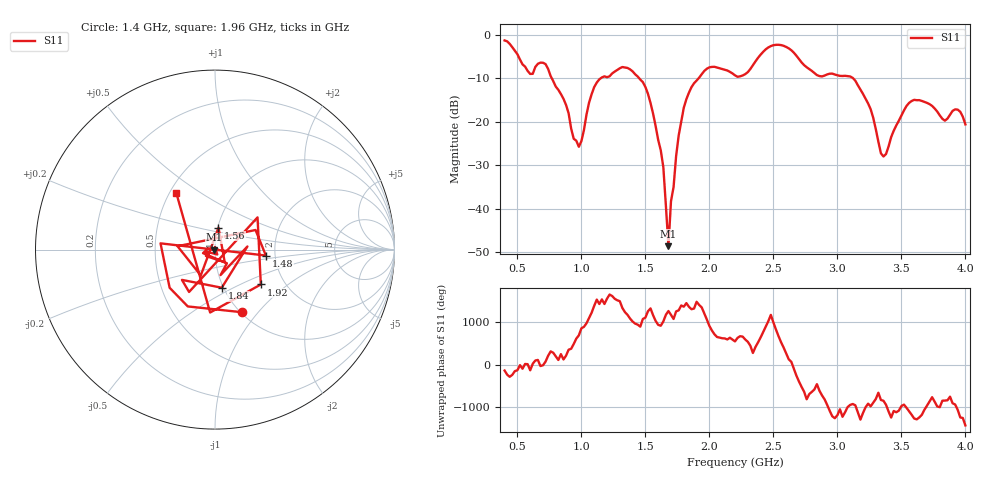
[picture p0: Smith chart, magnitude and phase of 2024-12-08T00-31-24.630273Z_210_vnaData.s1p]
!Created with skrf (http://scikit-rf.org).
# Hz S RI R 50.0
!freq ReS11 ImS11
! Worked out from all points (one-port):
!   181 points, 400 MHz to 4 GHz, reference 50 ohm
!   lowest |S11| = -48.6 dB at 1.68 GHz (marker M1), VSWR 1.01, Z = 49.6 - j0.00117 ohm
!   |S11| at or under -10 dB: 768.3 MHz to 1.152 GHz (383.2 MHz wide, 39.9 % of centre); 1.451 GHz to 1.916 GHz (465 MHz wide, 27.6 % of centre); 3.122 GHz to end of sweep
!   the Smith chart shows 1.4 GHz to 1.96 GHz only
!   S11 on the Smith chart (normalised r, x): 1.4 GHz: 1.01, -0.82; 1.48 GHz: 1.79, -0.13; 1.56 GHz: 1.01, +0.25; 1.84 GHz: 0.98, -0.44; 1.92 GHz: 1.51, -0.66; 1.96 GHz: 0.54, +0.40
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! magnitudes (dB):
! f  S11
! 400 MHz  -1.3
! 600 MHz  -9.0
! 720 MHz  -6.8
! 860 MHz  -14.7
! 980 MHz  -25.7
! 1.1 GHz  -12.0
! 1.3 GHz  -7.7
! 1.4 GHz  -8.4
! 1.48 GHz  -10.9
! 1.56 GHz  -18.1
! 1.64 GHz  -30.4
! 1.68 GHz  -48.6
! 1.7 GHz  -38.2
! 1.76 GHz  -23.1
! 1.84 GHz  -13.3
! 1.92 GHz  -9.9
! 1.96 GHz  -8.3
! 2.2 GHz  -9.3
! 2.48 GHz  -2.6
! 2.66 GHz  -4.1
! 2.84 GHz  -9.3
! 3.1 GHz  -9.6
! 3.26 GHz  -17.1
! 3.36 GHz  -28.0
! 3.56 GHz  -15.7
! 3.84 GHz  -19.7
! 3.94 GHz  -17.2
! 4 GHz  -20.6
